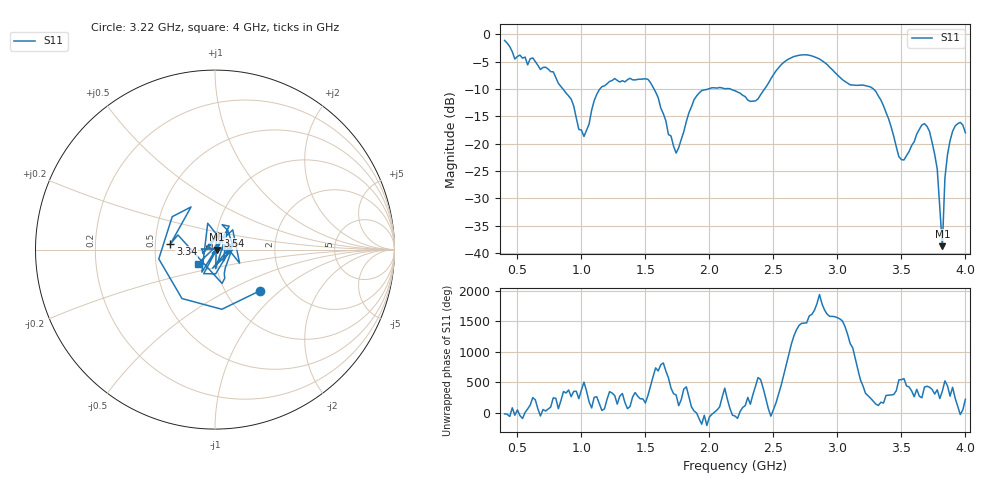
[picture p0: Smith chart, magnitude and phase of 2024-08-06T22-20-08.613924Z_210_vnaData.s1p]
!Created with skrf (http://scikit-rf.org).
# Hz S RI R 50.0
!freq ReS11 ImS11
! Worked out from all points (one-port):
!   181 points, 400 MHz to 4 GHz, reference 50 ohm
!   lowest |S11| = -38.8 dB at 3.82 GHz (marker M1), VSWR 1.02, Z = 51.2 - j0.128 ohm
!   |S11| at or under -10 dB: 855.9 MHz to 1.145 GHz (288.7 MHz wide, 28.9 % of centre); 1.567 GHz to 1.991 GHz (424.3 MHz wide, 23.8 % of centre); 3.281 GHz to end of sweep (the widest 3 of 4)
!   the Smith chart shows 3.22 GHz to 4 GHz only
!   S11 on the Smith chart (normalised r, x): 3.22 GHz: 1.44, -0.75; 3.34 GHz: 0.60, +0.04; 3.54 GHz: 1.02, +0.16; 4 GHz: 0.81, -0.13
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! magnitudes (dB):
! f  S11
! 400 MHz  -1.1
! 480 MHz  -4.5
! 860 MHz  -10.1
! 1.02 GHz  -18.7
! 1.14 GHz  -10.1
! 1.3 GHz  -8.7
! 1.52 GHz  -8.2
! 1.74 GHz  -21.7
! 1.76 GHz  -20.7
! 1.92 GHz  -10.7
! 2.2 GHz  -10.3
! 2.36 GHz  -12.2
! 2.66 GHz  -4.1
! 2.86 GHz  -4.5
! 3.1 GHz  -9.2
! 3.22 GHz  -9.4
! 3.34 GHz  -12.0
! 3.48 GHz  -22.4
! 3.54 GHz  -22.2
! 3.56 GHz  -21.4
! 3.66 GHz  -16.6
! 3.72 GHz  -17.8
! 3.78 GHz  -24.6
! 3.82 GHz  -38.8
! 3.84 GHz  -26.3
! 3.88 GHz  -19.5
! 3.94 GHz  -16.3
! 4 GHz  -18.0
